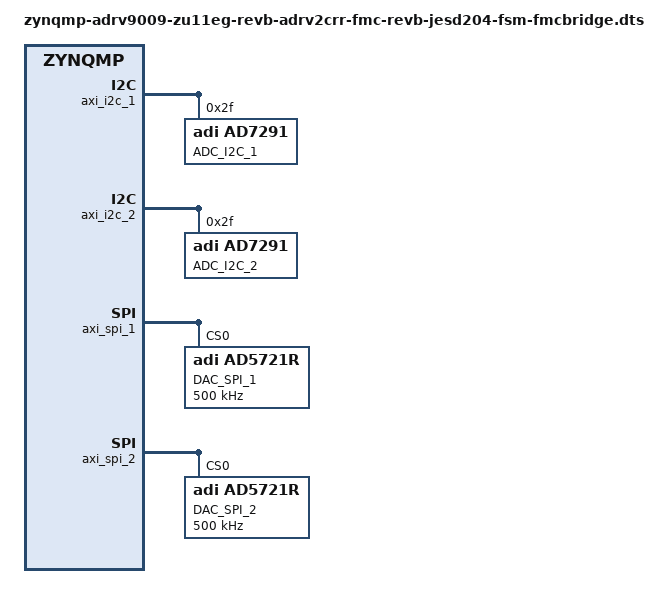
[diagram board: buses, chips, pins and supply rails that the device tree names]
// SPDX-License-Identifier: GPL-2.0
/*
 * ADRV2CRR-FMC using ADRV9009-ZU11EG Rev.B System on Module
 *
 * https://wiki.analog.com/resources/eval/user-guides/adrv9009
 * https://wiki.analog.com/resources/tools-software/linux-drivers/iio-transceiver/adrv9009
 * https://wiki.analog.com/resources/tools-software/linux-software/adrv9009_advanced_plugin
 * https://wiki.analog.com/resources/eval/user-guides/adrv9009-zu11eg/adrv2crr-fmc_carrier_board
 *
 * hdl_project: <adrv9009zu11eg/adrv2crr_fmc>
 * board_revision: <B>
 *
 * Copyright (C) 2021 Analog Devices Inc.
 */

#include "zynqmp-adrv9009-zu11eg-revb-adrv2crr-fmc-revb-jesd204-fsm.dts"

&fpga_axi {
	axi_i2c_1: i2c@83000000 {
		#address-cells = <1>;
		#size-cells = <0>;
		clock-names = "s_axi_aclk";
		clocks = <&zynqmp_clk 71>;
		compatible = "xlnx,axi-iic-2.0", "xlnx,xps-iic-2.00.a";
		interrupt-names = "iic2intc_irpt";
		interrupt-parent = <&gic>;
		interrupts = <0 90 IRQ_TYPE_LEVEL_HIGH>;
		reg = <0x0 0x83000000 0x1000>;
	};

	axi_i2c_2: i2c@83100000 {
		#address-cells = <1>;
		#size-cells = <0>;
		clock-names = "s_axi_aclk";
		clocks = <&zynqmp_clk 71>;
		compatible = "xlnx,axi-iic-2.0", "xlnx,xps-iic-2.00.a";
		interrupt-names = "iic2intc_irpt";
		interrupt-parent = <&gic>;
		interrupts = <0 91 IRQ_TYPE_LEVEL_HIGH>;
		reg = <0x0 0x83100000 0x1000>;
	};

	axi_spi_1: spi@84000000 {
		#address-cells = <1>;
		#size-cells = <0>;
		bits-per-word = <8>;
		compatible = "xlnx,xps-spi-2.00.a";
		reg = <0x0 0x84000000 0x1000>;
		fifo-size = <16>;
		interrupts = <0 92 IRQ_TYPE_EDGE_RISING>;
		num-cs = <0x8>;
		xlnx,num-ss-bits = <0x8>;
		xlnx,spi-mode = <0>;
	};

	axi_spi_2: spi@84500000 {
		#address-cells = <1>;
		#size-cells = <0>;
		bits-per-word = <8>;
		compatible = "xlnx,xps-spi-2.00.a";
		reg = <0x0 0x84500000 0x1000>;
		fifo-size = <16>;
		interrupts = <0 93 IRQ_TYPE_EDGE_RISING>;
		num-cs = <0x8>;
		xlnx,num-ss-bits = <0x8>;
		xlnx,spi-mode = <0>;
	};

	axi_gpio: gpio@86000000 {
		#gpio-cells = <2>;
		#interrupt-cells = <2>;
		clock-names = "s_axi_aclk";
		clocks = <&zynqmp_clk 71>;
		compatible = "xlnx,axi-gpio-2.0", "xlnx,xps-gpio-1.00.a";
		gpio-controller;
		interrupt-controller;
		interrupt-names = "ip2intc_irpt";
		interrupt-parent = <&gic>;
		interrupts = <0 9 4>;
		reg = <0x0 0x86000000 0x1000>;
		xlnx,all-inputs = <0x0>;
		xlnx,all-inputs-2 = <0x0>;
		xlnx,all-outputs = <0x0>;
		xlnx,all-outputs-2 = <0x0>;
		xlnx,dout-default = <0x00000000>;
		xlnx,dout-default-2 = <0x00000000>;
		xlnx,gpio-width = <0x20>;
		xlnx,gpio2-width = <0x20>;
		xlnx,interrupt-present = <0x1>;
		xlnx,is-dual = <0x1>;
		xlnx,tri-default = <0xFFFFFFFF>;
		xlnx,tri-default-2 = <0xFFFFFFFF>;
	};
};

&axi_i2c_1 {
	ad7291_1@2f {
		label = "ADC_I2C_1";
		compatible = "adi,ad7291";
		reg = <0x2f>;
	};
};

&axi_i2c_2 {
	ad7291_2@2f {
		label = "ADC_I2C_2";
		compatible = "adi,ad7291";
		reg = <0x2f>;
	};
};

&axi_spi_1 {
	ad5721r_1@0 {
		label = "DAC_SPI_1";
		compatible = "adi,ad5721r";
		reg = <0>;
		spi-max-frequency = <500000>;
	};
};

&axi_spi_2 {
	ad5721r_2@0 {
		label = "DAC_SPI_2";
		compatible = "adi,ad5721r";
		reg = <0>;
		spi-max-frequency = <500000>;
	};
};
